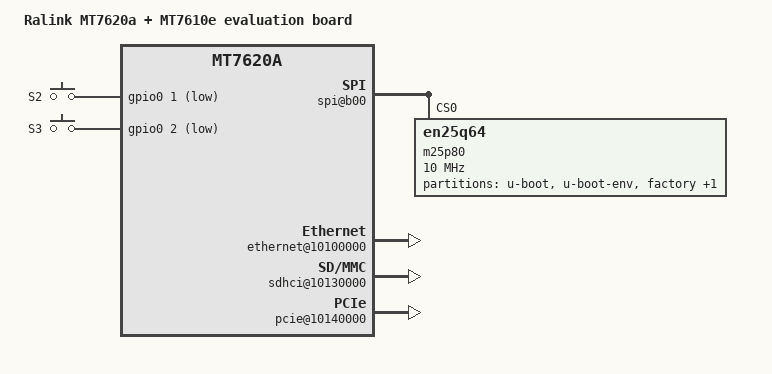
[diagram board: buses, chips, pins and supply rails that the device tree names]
/dts-v1/;

/include/ "mt7620a.dtsi"

/ {
	compatible = "ralink,mt7620a-eval-board", "ralink,mt7620a-soc";
	model = "Ralink MT7620a + MT7610e evaluation board";

	palmbus@10000000 {
		spi@b00 {
			status = "okay";

			m25p80@0 {
				#address-cells = <1>;
				#size-cells = <1>;
				compatible = "en25q64";
				reg = <0 0>;
				linux,modalias = "m25p80", "en25q64";
				spi-max-frequency = <10000000>;

				partition@0 {
					label = "u-boot";
					reg = <0x0 0x30000>;
					read-only;
				};

				partition@30000 {
					label = "u-boot-env";
					reg = <0x30000 0x10000>;
					read-only;
				};

				factory: partition@40000 {
					label = "factory";
					reg = <0x40000 0x10000>;
					read-only;
				};

				partition@50000 {
					label = "firmware";
					reg = <0x50000 0x7b0000>;
				};
			};
		};
	};

	pinctrl {
		state_default: pinctrl0 {
			gpio {
				ralink,group = "i2c", "uartf";
				ralink,function = "gpio";
			};
		};
	};

	ethernet@10100000 {
		status = "okay";

		pinctrl-names = "default";
		pinctrl-0 = <&ephy_pins>;

		ralink,port-map = "llllw";
	};

	gsw@10110000 {
		ralink,port4 = "gmac";
	};

	sdhci@10130000 {
		status = "okay";
	};

	pcie@10140000 {
		status = "okay";
	};

	gpio-keys-polled {
		compatible = "gpio-keys";
		#address-cells = <1>;
		#size-cells = <0>;
		poll-interval = <20>;
		s2 {
			label = "S2";
			gpios = <&gpio0 1 1>;
			linux,code = <0x100>;
		};
		s3 {
			label = "S3";
			gpios = <&gpio0 2 1>;
			linux,code = <0x101>;
		};
	};
};
